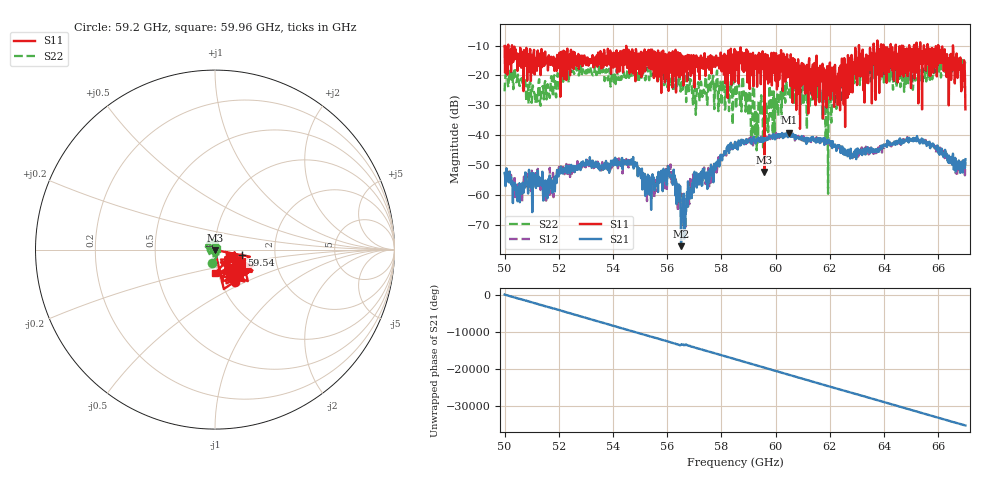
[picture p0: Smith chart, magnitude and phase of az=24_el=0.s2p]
!Created with skrf (http://scikit-rf.org).
# GHz S RI R 50.0
!freq ReS11 ImS11 ReS21 ImS21 ReS12 ImS12 ReS22 ImS22
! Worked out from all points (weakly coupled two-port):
!   1001 points, 50 GHz to 67 GHz, reference 50 ohm
!   highest |S21| = -39.10 dB at 60.51 GHz (marker M1); lowest = -77.1 dB at 56.51 GHz (marker M2)
!   lowest |S11| = -52.3 dB at 59.59 GHz (marker M3), VSWR 1.00, Z = 50 - j0.24 ohm
!   |S11| at or under -10 dB: 50.27 GHz to 63.07 GHz (12.8 GHz wide, 22.6 % of centre); 63.07 GHz to 63.62 GHz (541.2 MHz wide, 0.854 % of centre); 66 GHz to 66.54 GHz (538.7 MHz wide, 0.813 % of centre) (the widest 3 of 18)
!   |S22| runs from -59.6 to -14.0 dB; largest |S21 - S12| = 0.0019
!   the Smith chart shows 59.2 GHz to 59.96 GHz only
!   S11 on the Smith chart (normalised r, x): 59.2 GHz: 1.16, -0.43; 59.54 GHz: 1.35, -0.08; 59.96 GHz: 0.97, -0.26
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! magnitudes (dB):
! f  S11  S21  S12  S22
! 50 GHz  -10.2  -52.6  -52.7  -25.3
! 50.56 GHz  -16.8  -62.4  -60.9  -23.5
! 51.16 GHz  -14.2  -57.7  -55.3  -27.1
! 52.84 GHz  -14.1  -49.0  -50.8  -20.1
! 55.68 GHz  -13.5  -52.3  -53.6  -21.8
! 56.09 GHz  -13.7  -53.3  -52.9  -22.2
! 56.51 GHz  -19.9  -77.1  -66.8  -23.4
! 56.65 GHz  -17.9  -70.2  -66.7  -20.3
! 56.99 GHz  -14.8  -52.8  -56.0  -21.6
! 58.5 GHz  -22.1  -42.2  -43.4  -23.5
! 59.2 GHz  -13.6  -40.5  -40.8  -22.1
! 59.54 GHz  -16.4  -42.4  -41.2  -44.1
! 59.59 GHz  -52.3  -41.1  -42.0  -31.2
! 59.96 GHz  -17.7  -39.8  -41.0  -40.1
! 60.51 GHz  -16.0  -39.1  -39.5  -23.9
! 61.34 GHz  -26.5  -41.4  -41.4  -25.5
! 61.88 GHz  -30.7  -41.6  -41.7  -23.1
! 62.55 GHz  -14.8  -44.6  -45.7  -19.4
! 64.18 GHz  -18.9  -42.7  -43.0  -18.9
! 66.08 GHz  -15.7  -45.6  -44.9  -15.9
! 66.75 GHz  -18.2  -49.3  -49.1  -18.2
! 67 GHz  -31.3  -48.0  -49.1  -15.5
